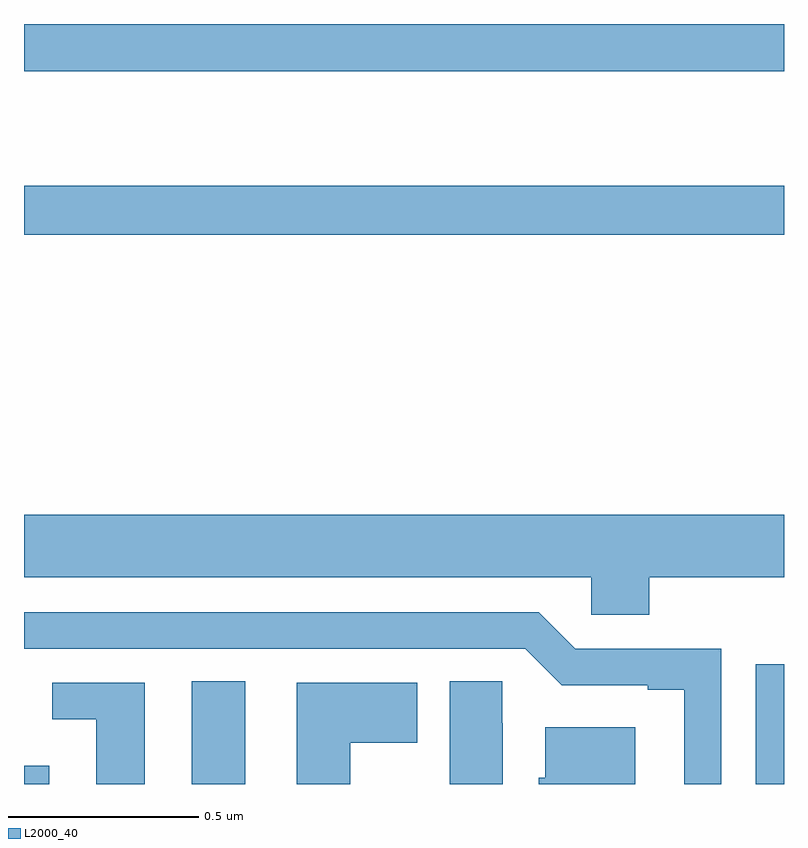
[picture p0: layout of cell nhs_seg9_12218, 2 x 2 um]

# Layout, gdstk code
import gdstk
lib = gdstk.Library(unit=1e-6, precision=1e-09)
def R(c, l, rs):  # rectangles x0, y0, x1, y1
    for r in rs: c.add(gdstk.rectangle(r[:2], r[2:], *l))
def P(c, l, *ps):  # polygons
    for p in ps: c.add(gdstk.Polygon(p, *l))
L2000_40 = (2000, 40)

nhs_seg9_12218 = lib.new_cell('nhs_seg9_12218')
R(nhs_seg9_12218, L2000_40, [(265,1238.5,265.066,1238.548), (265.442,1238.5,265.582,1238.771), (266.925,1238.5,267,1238.815), (265,1239.946,267,1240.075), (265,1240.376,267,1240.5)])
P(nhs_seg9_12218, L2000_40, [(266.645,1239.044),(267,1239.044),(267,1239.208),(265,1239.208),(265,1239.044),(266.493,1239.044),(266.493,1238.946),(266.645,1238.946)],
  [(266.835,1238.856),(266.451,1238.856),(266.355,1238.952),(265,1238.952),(265,1238.856),(266.319,1238.856),(266.415,1238.76),(266.642,1238.76),(266.642,1238.748),(266.738,1238.748),(266.738,1238.5),(266.835,1238.5)],
  [(266.26,1238.66),(266.259,1238.66),(266.259,1238.771),(266.12,1238.771),(266.12,1238.5),(266.26,1238.5)],
  [(265.858,1238.608),(266.035,1238.608),(266.035,1238.767),(265.718,1238.767),(265.718,1238.5),(265.858,1238.5)],
  [(265.318,1238.766),(265.074,1238.766),(265.074,1238.67),(265.19,1238.67),(265.19,1238.5),(265.318,1238.5)],
  [(266.608,1238.65),(266.372,1238.65),(266.372,1238.517),(266.354,1238.517),(266.354,1238.5),(266.608,1238.5)])

lib.write_gds('nhs_seg9_12218.gds')
